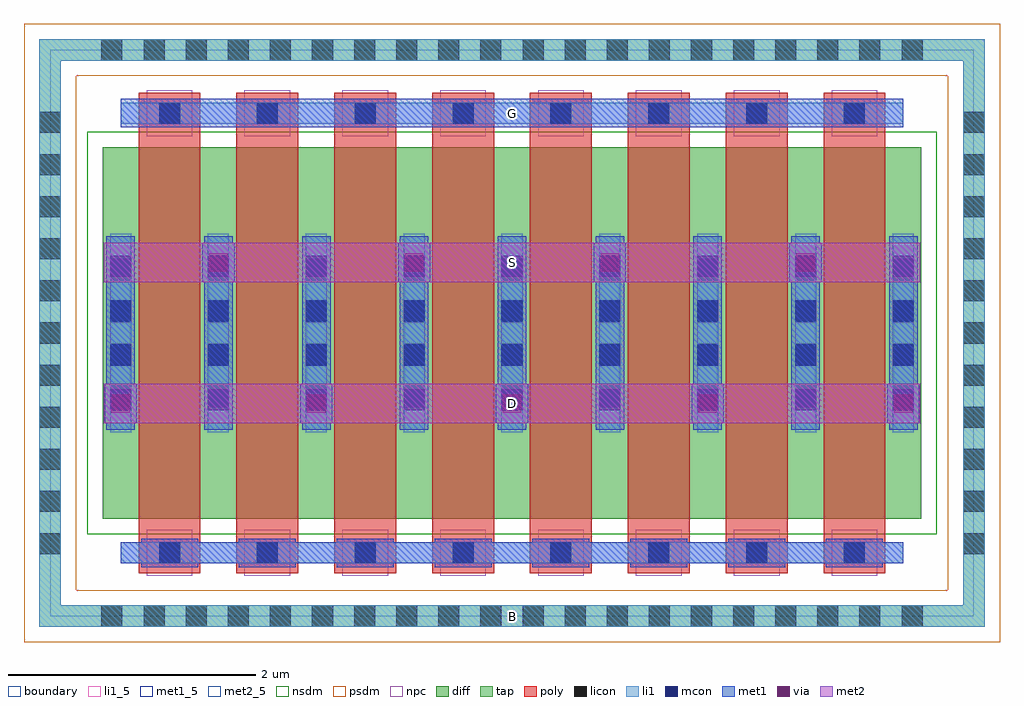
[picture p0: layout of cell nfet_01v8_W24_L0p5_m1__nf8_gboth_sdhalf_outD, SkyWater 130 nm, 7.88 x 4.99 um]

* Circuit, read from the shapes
.subckt nfet_01v8_W24_L0p5_m1__nf8_gboth_sdhalf_outD B D G S
XM1 S G D B sky130_fd_pr__nfet_01v8 w=3 l=0.5 m=8
.ends

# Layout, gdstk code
import gdstk
lib = gdstk.Library(unit=1e-6, precision=1e-09)
def R(c, l, rs):  # rectangles x0, y0, x1, y1
    for r in rs: c.add(gdstk.rectangle(r[:2], r[2:], *l))
def A(c, l, x, y, w, h, nx, ny, dx, dy):  # array of equal rectangles
    R(c, l, [(x+i*dx, y+j*dy, x+i*dx+w, y+j*dy+h) for i in range(nx) for j in range(ny)])
diff = (65, 20)
tap = (65, 44)
poly = (66, 20)
licon = (66, 44)
li1_5 = (67, 5)
li1 = (67, 20)
mcon = (67, 44)
met1_5 = (68, 5)
met1 = (68, 20)
via = (68, 44)
met2_5 = (69, 5)
met2 = (69, 20)
nsdm = (93, 44)
psdm = (94, 20)
npc = (95, 20)
boundary = (235, 4)

sky130_fd_pr__nfet_01v8_ = lib.new_cell('sky130_fd_pr__nfet_01v8_VN3DN8')
R(sky130_fd_pr__nfet_01v8_, diff, [(-3.305,-1.5,3.305,1.5)])
R(sky130_fd_pr__nfet_01v8_, tap, [(-3.815,-2.37,3.815,-2.2), (-3.815,-2.2,-3.645,2.2), (3.645,-2.2,3.815,2.2), (-3.815,2.2,3.815,2.37)])
A(sky130_fd_pr__nfet_01v8_, poly, -3.015, -1.94, 0.5, 3.88, 8, 1, 0.79, 0)
A(sky130_fd_pr__nfet_01v8_, licon, -3.315, -2.37, 0.17, 0.17, 20, 2, 0.34, 4.57)
A(sky130_fd_pr__nfet_01v8_, licon, -2.85, -1.86, 0.17, 0.17, 8, 2, 0.79, 3.55)
A(sky130_fd_pr__nfet_01v8_, licon, -3.815, -1.785, 0.17, 0.17, 1, 11, 0, 0.34)
A(sky130_fd_pr__nfet_01v8_, licon, 3.645, -1.785, 0.17, 0.17, 1, 11, 0, 0.34)
A(sky130_fd_pr__nfet_01v8_, licon, -3.245, -0.595, 0.17, 0.17, 9, 4, 0.79, 0.34)
A(sky130_fd_pr__nfet_01v8_, li1, -3.245, -0.8, 0.17, 1.6, 9, 1, 0.79, 0)
R(sky130_fd_pr__nfet_01v8_, li1, [(-3.815,-2.37,3.815,-2.2), (-3.815,-2.2,-3.645,2.2), (3.645,-2.2,3.815,2.2), (-3.16,-1.86,3.16,-1.69), (-3.16,1.69,3.16,1.86), (-3.815,2.2,3.815,2.37)])
A(sky130_fd_pr__nfet_01v8_, mcon, -2.85, -1.86, 0.17, 0.17, 8, 2, 0.79, 3.55)
A(sky130_fd_pr__nfet_01v8_, mcon, -3.245, -0.625, 0.17, 0.17, 9, 4, 0.79, 0.36)
A(sky130_fd_pr__nfet_01v8_, met1, -2.995, -1.89, 0.46, 0.03, 8, 2, 0.79, 0.2)
A(sky130_fd_pr__nfet_01v8_, met1, -3.275, -0.78, 0.23, 1.56, 9, 1, 0.79, 0)
A(sky130_fd_pr__nfet_01v8_, met1, -2.995, 1.66, 0.46, 0.03, 8, 2, 0.79, 0.2)
R(sky130_fd_pr__nfet_01v8_, met1, [(-3.16,-1.86,3.16,-1.69), (-3.16,1.69,3.16,1.86)])
R(sky130_fd_pr__nfet_01v8_, nsdm, [(-3.43,-1.625,3.43,1.625)])
R(sky130_fd_pr__nfet_01v8_, psdm, [(-3.94,-2.495,3.94,-2.075), (-3.94,-2.075,-3.52,2.075), (3.52,-2.075,3.94,2.075), (-3.94,2.075,3.94,2.495)])
A(sky130_fd_pr__nfet_01v8_, npc, -2.95, -1.96, 0.37, 0.37, 8, 2, 0.79, 3.55)
R(sky130_fd_pr__nfet_01v8_, boundary, [(-3.73,-2.285,3.73,2.285)])
sky130_fd_pr__nfet_01v8_.add(gdstk.Label('B', (0,-2.285), layer=67, texttype=5))
sky130_fd_pr__nfet_01v8_.add(gdstk.Label('D0', (-3.16,0), layer=67, texttype=5))
sky130_fd_pr__nfet_01v8_.add(gdstk.Label('G', (2.765,1.775), layer=67, texttype=5))
sky130_fd_pr__nfet_01v8_.add(gdstk.Label('G', (1.975,1.775), layer=67, texttype=5))
sky130_fd_pr__nfet_01v8_.add(gdstk.Label('G', (1.185,1.775), layer=67, texttype=5))
sky130_fd_pr__nfet_01v8_.add(gdstk.Label('G', (0.395,1.775), layer=67, texttype=5))
sky130_fd_pr__nfet_01v8_.add(gdstk.Label('G', (-0.395,1.775), layer=67, texttype=5))
sky130_fd_pr__nfet_01v8_.add(gdstk.Label('G', (-1.185,1.775), layer=67, texttype=5))
sky130_fd_pr__nfet_01v8_.add(gdstk.Label('G', (-1.975,1.775), layer=67, texttype=5))
sky130_fd_pr__nfet_01v8_.add(gdstk.Label('G', (-2.765,1.775), layer=67, texttype=5))
sky130_fd_pr__nfet_01v8_.add(gdstk.Label('S1', (-2.37,0), layer=67, texttype=5))
sky130_fd_pr__nfet_01v8_.add(gdstk.Label('D2', (-1.58,0), layer=67, texttype=5))
sky130_fd_pr__nfet_01v8_.add(gdstk.Label('S3', (-0.79,0), layer=67, texttype=5))
sky130_fd_pr__nfet_01v8_.add(gdstk.Label('D4', (0,0), layer=67, texttype=5))
sky130_fd_pr__nfet_01v8_.add(gdstk.Label('S5', (0.79,0), layer=67, texttype=5))
sky130_fd_pr__nfet_01v8_.add(gdstk.Label('D6', (1.58,0), layer=67, texttype=5))
sky130_fd_pr__nfet_01v8_.add(gdstk.Label('S7', (2.37,0), layer=67, texttype=5))

nfet_01v8_w24_l0p5_m1__n = lib.new_cell('nfet_01v8_W24_L0p5_m1__nf8_gboth_sdhalf_outD')
R(nfet_01v8_w24_l0p5_m1__n, li1_5, [(3.645,-0.085,3.815,0.085)])
R(nfet_01v8_w24_l0p5_m1__n, li1, [(3.645,-0.085,3.815,0.085)])
R(nfet_01v8_w24_l0p5_m1__n, met1_5, [(0.57,3.945,6.89,4.175)])
A(nfet_01v8_w24_l0p5_m1__n, met1, 0.44, 1.555, 0.26, 0.32, 5, 1, 1.58, 0)
A(nfet_01v8_w24_l0p5_m1__n, met1, 1.23, 2.695, 0.26, 0.32, 4, 1, 1.58, 0)
R(nfet_01v8_w24_l0p5_m1__n, met1, [(0.57,3.945,6.89,4.175)])
A(nfet_01v8_w24_l0p5_m1__n, via, 0.495, 1.64, 0.15, 0.15, 5, 1, 1.58, 0)
A(nfet_01v8_w24_l0p5_m1__n, via, 1.285, 2.78, 0.15, 0.15, 4, 1, 1.58, 0)
R(nfet_01v8_w24_l0p5_m1__n, met2_5, [(0.435,1.555,7.025,1.875), (0.435,2.695,7.025,3.015)])
R(nfet_01v8_w24_l0p5_m1__n, met2, [(0.435,1.555,7.025,1.875), (0.435,2.695,7.025,3.015)])
nfet_01v8_w24_l0p5_m1__n.add(gdstk.Reference(sky130_fd_pr__nfet_01v8_, (3.73,2.285)))
nfet_01v8_w24_l0p5_m1__n.add(gdstk.Label('S', (3.73,2.855), layer=69, texttype=5))
nfet_01v8_w24_l0p5_m1__n.add(gdstk.Label('D', (3.73,1.715), layer=69, texttype=5))
nfet_01v8_w24_l0p5_m1__n.add(gdstk.Label('G', (3.73,4.06), layer=68, texttype=5))
nfet_01v8_w24_l0p5_m1__n.add(gdstk.Label('B', (3.73,0), layer=67, texttype=5))

lib.write_gds('nfet_01v8_W24_L0p5_m1__nf8_gboth_sdhalf_outD.gds')
